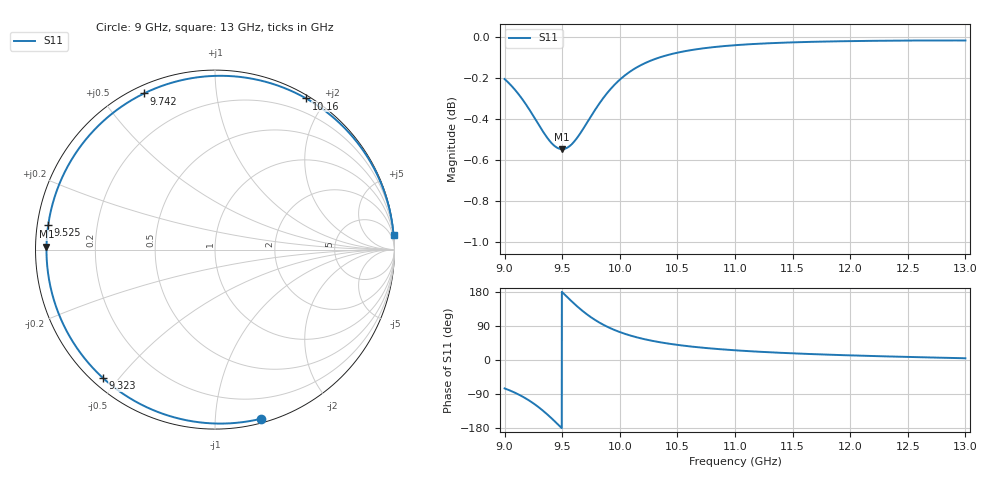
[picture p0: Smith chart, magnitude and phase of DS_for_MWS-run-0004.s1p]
! TOUCHSTONE file generated by CST DESIGN STUDIO
! Date and time: Wed Feb  5 13:31:13 2025
! Project name: C:\Work\MatlabApps\UnitCellOptimizationMatlab\CST\unitcell.cst
! Tree item: Tasks\Sweep1\SPara1\S-Parameters
! Header version: 2024
! Port assignment regex: !\s*Touchstone port\s*([0-9]+)\s*=\s*(CST MWS port|CST DES external port|CST DES block port)\s*(.+)\s* \(\"(.*)\"\)(\s*mode\s*([0-9]+))?.*
! Touchstone port assignment:
! Touchstone port 1 = CST DES external port 1 ("")
# GHz S MA R 50
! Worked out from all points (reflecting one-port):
!   4001 points, 9 GHz to 13 GHz, reference 50 ohm
!   lowest |S11| = -0.5 dB at 9.5 GHz (marker M1), VSWR 31.81, Z = 1.57 + j0.448 ohm
!   phase of S11 starts at -75 deg and turns -280 deg over the sweep
!   S11 on the Smith chart (normalised r, x): 9 GHz: 0.03, -1.30; 9.323 GHz: 0.03, -0.45; 9.525 GHz: 0.03, +0.07; 9.742 GHz: 0.03, +0.64; 10.16 GHz: 0.03, +1.77; 13 GHz: 1, +25
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9  0.9766 -74.9
9.085  0.9711 -85.7
9.186  0.9628 -101.8
9.257  0.9559 -115.9
9.323  0.9493 -131.2
9.37  0.945 -143.4
9.42  0.9415 -157.4
9.461  0.9396 -169.4
9.5  0.939 179.0
9.525  0.9393 171.5
9.578  0.9414 156.0
9.638  0.9457 139.4
9.689  0.9504 126.5
9.742  0.9557 114.5
9.795  0.9608 103.8
9.853  0.966 93.7
9.926  0.9716 82.8
10  0.9763 73.7
10.076  0.9801 66.0
10.159  0.9834 58.9
10.314  0.9878 48.7
10.5  0.9911 39.9
10.722  0.9935 32.3
11  0.9953 25.6
11.5  0.9969 17.6
12  0.9976 12.2
12.5  0.9979 8.1
13  0.9979 4.6
